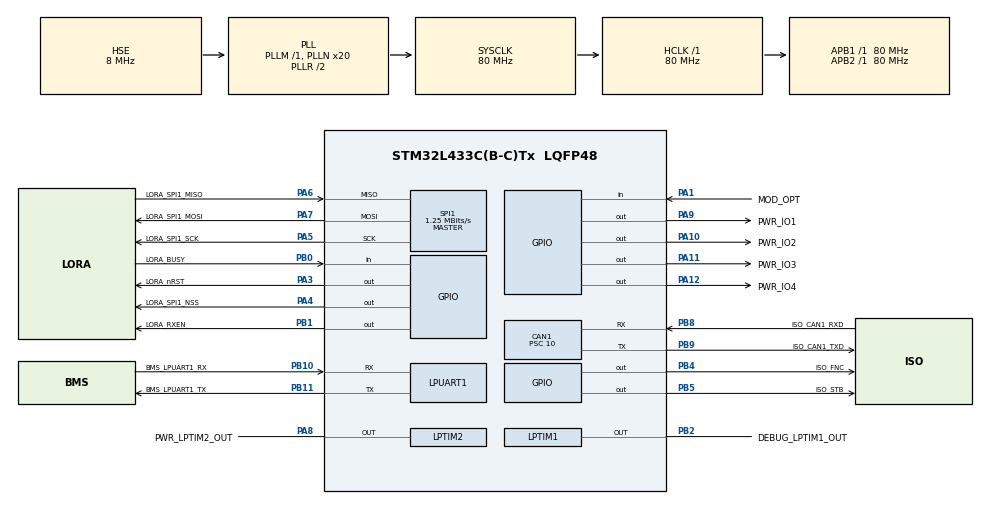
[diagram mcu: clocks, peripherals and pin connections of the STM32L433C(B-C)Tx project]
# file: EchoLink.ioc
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CAN1.BS1=CAN_BS1_13TQ
CAN1.BS2=CAN_BS2_2TQ
CAN1.CalculateBaudRate=500000
CAN1.CalculateTimeBit=2000
CAN1.CalculateTimeQuantum=125.0
CAN1.Prescaler=10
FREERTOS.Tasks01=defaultTask,24,128,StartDefaultTask,Default,NULL,Dynamic,NULL,NULL
FREERTOS.configUSE_NEWLIB_REENTRANT=1
Mcu.Family=STM32L4
Mcu.Name=STM32L433C(B-C)Tx
Mcu.Package=LQFP48
NVIC.PriorityGroup=NVIC_PRIORITYGROUP_4
NVIC.TIM6_DAC_IRQn=true\:15\:0\:false\:false\:true\:false\:false\:true\:true
NVIC.TimeBase=TIM6_DAC_IRQn
NVIC.TimeBaseIP=TIM6
PA0.GPIO_Label=SYS_FNC
PA0.Mode=SYS_WakeUp0
PA0.Signal=SYS_WKUP1
PA1.GPIO_Label=MOD_OPT
PA1.Signal=GPIO_Input
PA10.GPIO_Label=PWR_IO2
PA10.Signal=GPIO_Output
PA11.GPIO_Label=PWR_IO3
PA11.Signal=GPIO_Output
PA12.GPIO_Label=PWR_IO4
PA12.Signal=GPIO_Output
PA13\ (JTMS-SWDIO).GPIO_Label=SYS_SWDIO
PA13\ (JTMS-SWDIO).Mode=Trace_Asynchronous_SW
PA13\ (JTMS-SWDIO).Signal=SYS_JTMS-SWDIO
PA14\ (JTCK-SWCLK).GPIO_Label=SYS_SWCLK
PA14\ (JTCK-SWCLK).Mode=Trace_Asynchronous_SW
PA14\ (JTCK-SWCLK).Signal=SYS_JTCK-SWCLK
PA2.GPIO_Label=LORA_INT
PA2.Mode=SYS_WakeUp3
PA2.Signal=SYS_WKUP4
PA3.GPIO_Label=LORA_nRST
PA3.GPIO_ModeDefaultOutputPP=GPIO_MODE_OUTPUT_OD
PA3.GPIO_PuPd=GPIO_NOPULL
PA3.PinState=GPIO_PIN_SET
PA3.Signal=GPIO_Output
PA4.GPIO_Label=LORA_SPI1_NSS
PA4.PinState=GPIO_PIN_SET
PA4.Signal=GPIO_Output
PA5.GPIO_Label=LORA_SPI1_SCK
PA5.Mode=Full_Duplex_Master
PA5.Signal=SPI1_SCK
PA6.GPIO_Label=LORA_SPI1_MISO
PA6.Mode=Full_Duplex_Master
PA6.Signal=SPI1_MISO
PA7.GPIO_Label=LORA_SPI1_MOSI
PA7.Mode=Full_Duplex_Master
PA7.Signal=SPI1_MOSI
PA8.GPIO_Label=PWR_LPTIM2_OUT
PA8.Mode=WaveformGeneration
PA8.Signal=LPTIM2_OUT
PA9.GPIO_Label=PWR_IO1
PA9.Signal=GPIO_Output
PB0.GPIO_Label=LORA_BUSY
PB0.Signal=GPIO_Input
PB1.GPIO_Label=LORA_RXEN
PB1.Signal=GPIO_Output
PB10.GPIO_Label=BMS_LPUART1_RX
PB10.Mode=Asynchronous
PB10.Signal=LPUART1_RX
PB11.GPIO_Label=BMS_LPUART1_TX
PB11.Mode=Asynchronous
PB11.Signal=LPUART1_TX
PB2.GPIO_Label=DEBUG_LPTIM1_OUT
PB2.Mode=WaveformGeneration
PB2.Signal=LPTIM1_OUT
PB3\ (JTDO-TRACESWO).GPIO_Label=SYS_SWO
PB3\ (JTDO-TRACESWO).Mode=Trace_Asynchronous_SW
PB3\ (JTDO-TRACESWO).Signal=SYS_JTDO-SWO
PB4\ (NJTRST).GPIO_Label=ISO_FNC
PB4\ (NJTRST).GPIO_ModeDefaultOutputPP=GPIO_MODE_OUTPUT_OD
PB4\ (NJTRST).GPIO_PuPd=GPIO_NOPULL
PB4\ (NJTRST).Signal=GPIO_Output
PB5.GPIO_Label=ISO_STB
PB5.Signal=GPIO_Output
PB8.GPIO_Label=ISO_CAN1_RXD
PB8.Mode=CAN_Activate
PB8.Signal=CAN1_RX
PB9.GPIO_Label=ISO_CAN1_TXD
PB9.Mode=CAN_Activate
PB9.Signal=CAN1_TX
PH0-OSC_IN\ (PH0).GPIO_Label=OSC_IN
PH0-OSC_IN\ (PH0).Mode=HSE-External-Oscillator
PH0-OSC_IN\ (PH0).Signal=RCC_OSC_IN
PH1-OSC_OUT\ (PH1).GPIO_Label=OSC_OUT
PH1-OSC_OUT\ (PH1).Mode=HSE-External-Oscillator
PH1-OSC_OUT\ (PH1).Signal=RCC_OSC_OUT
ProjectManager.HeapSize=0x200
ProjectManager.StackSize=0x400
ProjectManager.TargetToolchain=STM32CubeIDE
RCC.ADCFreq_Value=32000000
RCC.AHBFreq_Value=80000000
RCC.APB1Freq_Value=80000000
RCC.APB1TimFreq_Value=80000000
RCC.APB2Freq_Value=80000000
RCC.APB2TimFreq_Value=80000000
RCC.CortexFreq_Value=80000000
RCC.HCLKFreq_Value=80000000
RCC.HSE_VALUE=8000000
RCC.HSI48_VALUE=48000000
RCC.HSI_VALUE=16000000
RCC.LPTIM1CLockSelection=RCC_LPTIM1CLKSOURCE_LSI
RCC.LPTIM2CLockSelection=RCC_LPTIM2CLKSOURCE_LSI
RCC.LSE_VALUE=32768
RCC.MSI_VALUE=4000000
RCC.PLLN=20
RCC.PLLSourceVirtual=RCC_PLLSOURCE_HSE
RCC.SYSCLKFreq_VALUE=80000000
RCC.SYSCLKSource=RCC_SYSCLKSOURCE_PLLCLK
RCC.USBFreq_Value=32000000
RCC.VCOOutputFreq_Value=160000000
SPI1.BaudRatePrescaler=SPI_BAUDRATEPRESCALER_64
SPI1.CalculateBaudRate=1.25 MBits/s
SPI1.DataSize=SPI_DATASIZE_8BIT
SPI1.Direction=SPI_DIRECTION_2LINES
SPI1.Mode=SPI_MODE_MASTER
SPI1.VirtualType=VM_MASTER
SYS.PVDLevel=PWR_PVDLEVEL_5
VP_FREERTOS_VS_CMSIS_V2.Mode=CMSIS_V2
VP_LPTIM1_VS_LPTIM_counterModeInternalClock.Mode=Counts__internal_clock_event_00
VP_LPTIM2_VS_LPTIM_counterModeInternalClock.Mode=Counts__internal_clock_event_00
VP_SYS_VS_tim6.Mode=TIM6
VP_SYS_V_PVD_IN.Mode=Mode_PVD_Int
board=custom

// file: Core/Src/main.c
/* USER CODE BEGIN Header */
/**
  ******************************************************************************
  * @file           : main.c
  * @brief          : Main program body
  ******************************************************************************
  * @attention
  *
  * Copyright (c) 2026 STMicroelectronics.
  * All rights reserved.
  *
  * This software is licensed under terms that can be found in the LICENSE file
  * in the root directory of this software component.
  * If no LICENSE file comes with this software, it is provided AS-IS.
  *
  ******************************************************************************
  */
/* USER CODE END Header */
#include "main.h"
#include "cmsis_os.h"

/* USER CODE BEGIN Includes */
#include "Systems/power_management.h"
#include "Drivers/isow1044.h"
#include "Drivers/radio.h"

/* USER CODE END Includes */

CAN_HandleTypeDef hcan1;

LPTIM_HandleTypeDef hlptim1;
LPTIM_HandleTypeDef hlptim2;

UART_HandleTypeDef hlpuart1;

SPI_HandleTypeDef hspi1;

/* Definitions for defaultTask */
osThreadId_t defaultTaskHandle;
const osThreadAttr_t defaultTask_attributes = {
  .name = "defaultTask",
  .stack_size = 128 * 4,
  .priority = (osPriority_t) osPriorityNormal,
};
/* USER CODE BEGIN PV */

const radio_lora_config_t radio_cfg_dev = {
    .freq_hz        = 466400000UL,					// 433.92MHz
    .tx_power_dbm   = SX1268_TX_PWR_24DBM_SETPOINT, // 24dBm -> dynamically adjusted
    .sf             = SX1268_LORA_SF7,             	// SF7
    .bw             = SX1268_LORA_BW_125,          	// 125kHz
    .cr             = SX1268_LORA_CR_4_5,          	// 4/5
    .preamble_len   = 8U,                          	// 8 symbols
    .symb_timeout   = 0U,                          	// Disable in rx continuous
    .fixed_len      = false,                       	// Explicit Header
    .payload_len    = RADIO_MAX_PAYLOAD_LENGTH,    	// 255 bytes
    .crc_on         = true,                        	// CRC
    .invert_iq      = false,                       	// Default polarity
    .public_network = false,                       	// Private SyncWord
    .rx_continuous  = true,                        	// Always listen
    .rx_boosted     = true,                        	// LNA boosted -> dynamically adjusted
    .tx_timeout_ms  = 1500U                        	// Watchdog hardware Tx
};

static radio_t radio_dev = {
		.sx1268 = {
				.hspi = &hspi1,
				.nss_port  = LORA_SPI1_NSS_GPIO_Port,
				.nss_pin   = LORA_SPI1_NSS_Pin,
				.busy_port = LORA_BUSY_GPIO_Port,
				.busy_pin  = LORA_BUSY_Pin,
				.nrst_port = LORA_nRST_GPIO_Port,
				.nrst_pin  = LORA_nRST_Pin,
				.rxen_port = LORA_RXEN_GPIO_Port,
				.rxen_pin  = LORA_RXEN_Pin,
				.dio1_port = LORA_INT_GPIO_Port,
				.dio1_pin  = LORA_INT_Pin
		}
};
radio_events_t radio_events_dev;

isow1044_t isow1044_dev = {
		.hcan = &hcan1,
		.stb_port = ISO_STB_GPIO_Port,
		.stb_pin = ISO_STB_Pin,
		.en_fnc_port = ISO_FNC_GPIO_Port,
		.en_fnc_pin = ISO_FNC_Pin,
		.dcdc_on = true,
		.mode = ISOW1044_MODE_NORMAL,
		.local_node_id = 1U
};

/* USER CODE END PV */

void SystemClock_Config(void);
static void MX_GPIO_Init(void);
static void MX_LPUART1_UART_Init(void);
static void MX_SPI1_Init(void);
static void MX_CAN1_Init(void);
static void MX_LPTIM1_Init(void);
static void MX_LPTIM2_Init(void);
void StartDefaultTask(void *argument);

int main(void)
{

  /* MCU Configuration--------------------------------------------------------*/

  /* Reset of all peripherals, Initializes the Flash interface and the Systick. */
  HAL_Init();

  /* Configure the system clock */
  SystemClock_Config();

  /* USER CODE BEGIN SysInit */
  PowerMgt_Init();
  /* USER CODE END SysInit */

  /* Initialize all configured peripherals */
  MX_GPIO_Init();
  MX_LPUART1_UART_Init();
  MX_SPI1_Init();
  MX_CAN1_Init();
  MX_LPTIM1_Init();
  MX_LPTIM2_Init();
  /* USER CODE BEGIN 2 */
  HAL_LPTIM_PWM_Start(&hlptim2, 47999, 16000); // 1s on - 0.5s off

  /* USER CODE END 2 */

  /* Init scheduler */
  osKernelInitialize();

  /* Create the thread(s) */
  /* creation of defaultTask */
  defaultTaskHandle = osThreadNew(StartDefaultTask, NULL, &defaultTask_attributes);

  /* Start scheduler */
  osKernelStart();

  /* We should never get here as control is now taken by the scheduler */

  /* Infinite loop */
  while (1)
  {

  }
}

void SystemClock_Config(void)
{
  RCC_OscInitTypeDef RCC_OscInitStruct = {0};
  RCC_ClkInitTypeDef RCC_ClkInitStruct = {0};

  /** Configure the main internal regulator output voltage
  */
  if (HAL_PWREx_ControlVoltageScaling(PWR_REGULATOR_VOLTAGE_SCALE1) != HAL_OK)
  {
    Error_Handler();
  }

  /** Initializes the RCC Oscillators according to the specified parameters
  * in the RCC_OscInitTypeDef structure.
  */
  RCC_OscInitStruct.OscillatorType = RCC_OSCILLATORTYPE_LSI|RCC_OSCILLATORTYPE_HSE;
  RCC_OscInitStruct.HSEState = RCC_HSE_ON;
  RCC_OscInitStruct.LSIState = RCC_LSI_ON;
  RCC_OscInitStruct.PLL.PLLState = RCC_PLL_ON;
  RCC_OscInitStruct.PLL.PLLSource = RCC_PLLSOURCE_HSE;
  RCC_OscInitStruct.PLL.PLLM = 1;
  RCC_OscInitStruct.PLL.PLLN = 20;
  RCC_OscInitStruct.PLL.PLLP = RCC_PLLP_DIV7;
  RCC_OscInitStruct.PLL.PLLQ = RCC_PLLQ_DIV2;
  RCC_OscInitStruct.PLL.PLLR = RCC_PLLR_DIV2;
  if (HAL_RCC_OscConfig(&RCC_OscInitStruct) != HAL_OK)
  {
    Error_Handler();
  }

  /** Initializes the CPU, AHB and APB buses clocks
  */
  RCC_ClkInitStruct.ClockType = RCC_CLOCKTYPE_HCLK|RCC_CLOCKTYPE_SYSCLK
                              |RCC_CLOCKTYPE_PCLK1|RCC_CLOCKTYPE_PCLK2;
  RCC_ClkInitStruct.SYSCLKSource = RCC_SYSCLKSOURCE_PLLCLK;
  RCC_ClkInitStruct.AHBCLKDivider = RCC_SYSCLK_DIV1;
  RCC_ClkInitStruct.APB1CLKDivider = RCC_HCLK_DIV1;
  RCC_ClkInitStruct.APB2CLKDivider = RCC_HCLK_DIV1;

  if (HAL_RCC_ClockConfig(&RCC_ClkInitStruct, FLASH_LATENCY_4) != HAL_OK)
  {
    Error_Handler();
  }
}

static void MX_CAN1_Init(void)
{

  hcan1.Instance = CAN1;
  hcan1.Init.Prescaler = 10;
  hcan1.Init.Mode = CAN_MODE_NORMAL;
  hcan1.Init.SyncJumpWidth = CAN_SJW_1TQ;
  hcan1.Init.TimeSeg1 = CAN_BS1_13TQ;
  hcan1.Init.TimeSeg2 = CAN_BS2_2TQ;
  hcan1.Init.TimeTriggeredMode = DISABLE;
  hcan1.Init.AutoBusOff = DISABLE;
  hcan1.Init.AutoWakeUp = DISABLE;
  hcan1.Init.AutoRetransmission = DISABLE;
  hcan1.Init.ReceiveFifoLocked = DISABLE;
  hcan1.Init.TransmitFifoPriority = DISABLE;
  if (HAL_CAN_Init(&hcan1) != HAL_OK)
  {
    Error_Handler();
  }

}

static void MX_LPTIM1_Init(void)
{

  hlptim1.Instance = LPTIM1;
  hlptim1.Init.Clock.Source = LPTIM_CLOCKSOURCE_APBCLOCK_LPOSC;
  hlptim1.Init.Clock.Prescaler = LPTIM_PRESCALER_DIV1;
  hlptim1.Init.Trigger.Source = LPTIM_TRIGSOURCE_SOFTWARE;
  hlptim1.Init.OutputPolarity = LPTIM_OUTPUTPOLARITY_HIGH;
  hlptim1.Init.UpdateMode = LPTIM_UPDATE_IMMEDIATE;
  hlptim1.Init.CounterSource = LPTIM_COUNTERSOURCE_INTERNAL;
  hlptim1.Init.Input1Source = LPTIM_INPUT1SOURCE_GPIO;
  hlptim1.Init.Input2Source = LPTIM_INPUT2SOURCE_GPIO;
  if (HAL_LPTIM_Init(&hlptim1) != HAL_OK)
  {
    Error_Handler();
  }

}

static void MX_LPTIM2_Init(void)
{

  hlptim2.Instance = LPTIM2;
  hlptim2.Init.Clock.Source = LPTIM_CLOCKSOURCE_APBCLOCK_LPOSC;
  hlptim2.Init.Clock.Prescaler = LPTIM_PRESCALER_DIV1;
  hlptim2.Init.Trigger.Source = LPTIM_TRIGSOURCE_SOFTWARE;
  hlptim2.Init.OutputPolarity = LPTIM_OUTPUTPOLARITY_HIGH;
  hlptim2.Init.UpdateMode = LPTIM_UPDATE_IMMEDIATE;
  hlptim2.Init.CounterSource = LPTIM_COUNTERSOURCE_INTERNAL;
  hlptim2.Init.Input1Source = LPTIM_INPUT1SOURCE_GPIO;
  hlptim2.Init.Input2Source = LPTIM_INPUT2SOURCE_GPIO;
  if (HAL_LPTIM_Init(&hlptim2) != HAL_OK)
  {
    Error_Handler();
  }

}

static void MX_LPUART1_UART_Init(void)
{

  hlpuart1.Instance = LPUART1;
  hlpuart1.Init.BaudRate = 209700;
  hlpuart1.Init.WordLength = UART_WORDLENGTH_7B;
  hlpuart1.Init.StopBits = UART_STOPBITS_1;
  hlpuart1.Init.Parity = UART_PARITY_NONE;
  hlpuart1.Init.Mode = UART_MODE_TX_RX;
  hlpuart1.Init.HwFlowCtl = UART_HWCONTROL_NONE;
  hlpuart1.Init.OneBitSampling = UART_ONE_BIT_SAMPLE_DISABLE;
  hlpuart1.AdvancedInit.AdvFeatureInit = UART_ADVFEATURE_NO_INIT;
  if (HAL_UART_Init(&hlpuart1) != HAL_OK)
  {
    Error_Handler();
  }

}

static void MX_SPI1_Init(void)
{

  /* SPI1 parameter configuration*/
  hspi1.Instance = SPI1;
  hspi1.Init.Mode = SPI_MODE_MASTER;
  hspi1.Init.Direction = SPI_DIRECTION_2LINES;
  hspi1.Init.DataSize = SPI_DATASIZE_8BIT;
  hspi1.Init.CLKPolarity = SPI_POLARITY_LOW;
  hspi1.Init.CLKPhase = SPI_PHASE_1EDGE;
  hspi1.Init.NSS = SPI_NSS_SOFT;
  hspi1.Init.BaudRatePrescaler = SPI_BAUDRATEPRESCALER_64;
  hspi1.Init.FirstBit = SPI_FIRSTBIT_MSB;
  hspi1.Init.TIMode = SPI_TIMODE_DISABLE;
  hspi1.Init.CRCCalculation = SPI_CRCCALCULATION_DISABLE;
  hspi1.Init.CRCPolynomial = 7;
  hspi1.Init.CRCLength = SPI_CRC_LENGTH_DATASIZE;
  hspi1.Init.NSSPMode = SPI_NSS_PULSE_ENABLE;
  if (HAL_SPI_Init(&hspi1) != HAL_OK)
  {
    Error_Handler();
  }

}

static void MX_GPIO_Init(void)
{
  GPIO_InitTypeDef GPIO_InitStruct = {0};

  /* GPIO Ports Clock Enable */
  __HAL_RCC_GPIOH_CLK_ENABLE();
  __HAL_RCC_GPIOA_CLK_ENABLE();
  __HAL_RCC_GPIOB_CLK_ENABLE();

  /*Configure GPIO pin Output Level */
  HAL_GPIO_WritePin(GPIOA, LORA_nRST_Pin|LORA_SPI1_NSS_Pin, GPIO_PIN_SET);

  /*Configure GPIO pin Output Level */
  HAL_GPIO_WritePin(GPIOB, LORA_RXEN_Pin|ISO_FNC_Pin|ISO_STB_Pin, GPIO_PIN_RESET);

  /*Configure GPIO pin Output Level */
  HAL_GPIO_WritePin(GPIOA, PWR_IO1_Pin|PWR_IO2_Pin|PWR_IO3_Pin|PWR_IO4_Pin, GPIO_PIN_RESET);

  /*Configure GPIO pin : MOD_OPT_Pin */
  GPIO_InitStruct.Pin = MOD_OPT_Pin;
  GPIO_InitStruct.Mode = GPIO_MODE_INPUT;
  GPIO_InitStruct.Pull = GPIO_NOPULL;
  HAL_GPIO_Init(MOD_OPT_GPIO_Port, &GPIO_InitStruct);

  /*Configure GPIO pin : LORA_nRST_Pin */
  GPIO_InitStruct.Pin = LORA_nRST_Pin;
  GPIO_InitStruct.Mode = GPIO_MODE_OUTPUT_OD;
  GPIO_InitStruct.Pull = GPIO_NOPULL;
  GPIO_InitStruct.Speed = GPIO_SPEED_FREQ_LOW;
  HAL_GPIO_Init(LORA_nRST_GPIO_Port, &GPIO_InitStruct);

  /*Configure GPIO pins : LORA_SPI1_NSS_Pin PWR_IO1_Pin PWR_IO2_Pin PWR_IO3_Pin
                           PWR_IO4_Pin */
  GPIO_InitStruct.Pin = LORA_SPI1_NSS_Pin|PWR_IO1_Pin|PWR_IO2_Pin|PWR_IO3_Pin
                          |PWR_IO4_Pin;
  GPIO_InitStruct.Mode = GPIO_MODE_OUTPUT_PP;
  GPIO_InitStruct.Pull = GPIO_NOPULL;
  GPIO_InitStruct.Speed = GPIO_SPEED_FREQ_LOW;
  HAL_GPIO_Init(GPIOA, &GPIO_InitStruct);

  /*Configure GPIO pin : LORA_BUSY_Pin */
  GPIO_InitStruct.Pin = LORA_BUSY_Pin;
  GPIO_InitStruct.Mode = GPIO_MODE_INPUT;
  GPIO_InitStruct.Pull = GPIO_NOPULL;
  HAL_GPIO_Init(LORA_BUSY_GPIO_Port, &GPIO_InitStruct);

  /*Configure GPIO pins : LORA_RXEN_Pin ISO_STB_Pin */
  GPIO_InitStruct.Pin = LORA_RXEN_Pin|ISO_STB_Pin;
  GPIO_InitStruct.Mode = GPIO_MODE_OUTPUT_PP;
  GPIO_InitStruct.Pull = GPIO_NOPULL;
  GPIO_InitStruct.Speed = GPIO_SPEED_FREQ_LOW;
  HAL_GPIO_Init(GPIOB, &GPIO_InitStruct);

  /*Configure GPIO pin : ISO_FNC_Pin */
  GPIO_InitStruct.Pin = ISO_FNC_Pin;
  GPIO_InitStruct.Mode = GPIO_MODE_OUTPUT_OD;
  GPIO_InitStruct.Pull = GPIO_NOPULL;
  GPIO_InitStruct.Speed = GPIO_SPEED_FREQ_LOW;
  HAL_GPIO_Init(ISO_FNC_GPIO_Port, &GPIO_InitStruct);

}

void StartDefaultTask(void *argument)
{
  for(;;)
  {
    osDelay(1);
  }
}

void HAL_TIM_PeriodElapsedCallback(TIM_HandleTypeDef *htim)
{
  if (htim->Instance == TIM6)
  {
    HAL_IncTick();
  }
}

void Error_Handler(void)
{
  __disable_irq();
  while (1)
  {
  }
}
